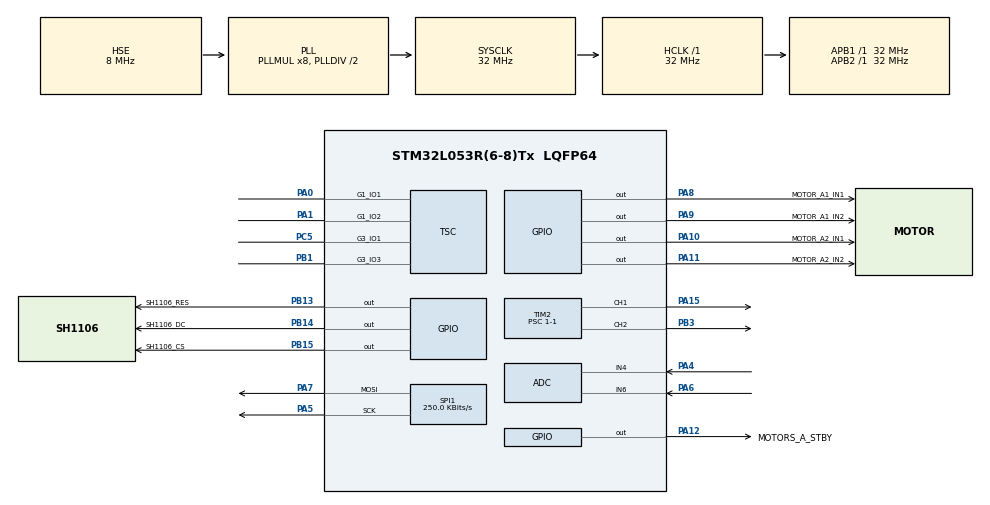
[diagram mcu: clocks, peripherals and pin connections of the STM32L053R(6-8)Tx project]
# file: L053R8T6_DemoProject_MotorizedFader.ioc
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ADC.ClockPrescaler=ADC_CLOCK_SYNC_PCLK_DIV4
ADC.ContinuousConvMode=DISABLE
ADC.EOCSelection=ADC_EOC_SINGLE_CONV
ADC.SamplingTime=ADC_SAMPLETIME_3CYCLES_5
Dma.ADC.0.Direction=DMA_PERIPH_TO_MEMORY
Dma.ADC.0.Instance=DMA1_Channel1
Dma.ADC.0.MemDataAlignment=DMA_MDATAALIGN_HALFWORD
Dma.ADC.0.MemInc=DMA_MINC_ENABLE
Dma.ADC.0.Mode=DMA_NORMAL
Dma.ADC.0.PeriphDataAlignment=DMA_PDATAALIGN_HALFWORD
Dma.ADC.0.PeriphInc=DMA_PINC_DISABLE
Dma.ADC.0.Priority=DMA_PRIORITY_MEDIUM
Dma.Request0=ADC
Dma.Request1=SPI1_TX
Dma.SPI1_TX.1.Direction=DMA_MEMORY_TO_PERIPH
Dma.SPI1_TX.1.Instance=DMA1_Channel3
Dma.SPI1_TX.1.MemDataAlignment=DMA_MDATAALIGN_BYTE
Dma.SPI1_TX.1.MemInc=DMA_MINC_ENABLE
Dma.SPI1_TX.1.Mode=DMA_NORMAL
Dma.SPI1_TX.1.PeriphDataAlignment=DMA_PDATAALIGN_BYTE
Dma.SPI1_TX.1.PeriphInc=DMA_PINC_DISABLE
Dma.SPI1_TX.1.Priority=DMA_PRIORITY_LOW
Mcu.Family=STM32L0
Mcu.Name=STM32L053R(6-8)Tx
Mcu.Package=LQFP64
NVIC.ADC1_COMP_IRQn=true\:1\:0\:true\:false\:true\:true\:true\:true
NVIC.DMA1_Channel1_IRQn=true\:0\:0\:false\:false\:true\:false\:true\:true
NVIC.DMA1_Channel2_3_IRQn=true\:0\:0\:false\:false\:true\:false\:true\:true
NVIC.SPI1_IRQn=true\:0\:0\:false\:false\:true\:true\:true\:true
NVIC.TSC_IRQn=true\:0\:0\:false\:false\:true\:true\:true\:true
PA0.Mode=G1_IO1-Sampling
PA0.Signal=TSC_G1_IO1
PA1.Mode=G1_IO2-Channel
PA1.Signal=TSC_G1_IO2
PA10.GPIO_Label=MOTOR_A2_IN1
PA10.Signal=GPIO_Output
PA11.GPIO_Label=MOTOR_A2_IN2
PA11.Signal=GPIO_Output
PA12.GPIO_Label=MOTORS_A_STBY
PA12.Signal=GPIO_Output
PA13.Mode=Serial_Wire
PA13.Signal=SYS_SWDIO
PA14.Mode=Serial_Wire
PA14.Signal=SYS_SWCLK
PA15.Signal=S_TIM2_CH1
PA4.Mode=IN4
PA4.Signal=ADC_IN4
PA5.Mode=TX_Only_Simplex_Unidirect_Master
PA5.Signal=SPI1_SCK
PA6.Mode=IN6
PA6.Signal=ADC_IN6
PA7.Mode=TX_Only_Simplex_Unidirect_Master
PA7.Signal=SPI1_MOSI
PA8.GPIO_Label=MOTOR_A1_IN1
PA8.Signal=GPIO_Output
PA9.GPIO_Label=MOTOR_A1_IN2
PA9.Signal=GPIO_Output
PB1.Mode=G3_IO3-Channel
PB1.Signal=TSC_G3_IO3
PB13.GPIO_Label=SH1106_RES
PB13.Signal=GPIO_Output
PB14.GPIO_Label=SH1106_DC
PB14.Signal=GPIO_Output
PB15.GPIO_Label=SH1106_CS
PB15.Signal=GPIO_Output
PB3.Signal=S_TIM2_CH2
PC5.Mode=G3_IO1-Sampling
PC5.Signal=TSC_G3_IO1
PH0-OSC_IN.Mode=HSE-External-Oscillator
PH0-OSC_IN.Signal=RCC_OSC_IN
PH1-OSC_OUT.Mode=HSE-External-Oscillator
PH1-OSC_OUT.Signal=RCC_OSC_OUT
ProjectManager.HeapSize=0x200
ProjectManager.StackSize=0x400
ProjectManager.TargetToolchain=STM32CubeIDE
RCC.AHBFreq_Value=32000000
RCC.APB1Freq_Value=32000000
RCC.APB1TimFreq_Value=32000000
RCC.APB2Freq_Value=32000000
RCC.APB2TimFreq_Value=32000000
RCC.HCLKFreq_Value=32000000
RCC.HSE_VALUE=8000000
RCC.HSI16_VALUE=16000000
RCC.HSI48_VALUE=48000000
RCC.HSI_VALUE=16000000
RCC.LSE_VALUE=32768
RCC.MSI_VALUE=2097000
RCC.PLLMUL=RCC_PLLMUL_8
RCC.PLLSourceVirtual=RCC_PLLSOURCE_HSE
RCC.SYSCLKFreq_VALUE=32000000
RCC.SYSCLKSource=RCC_SYSCLKSOURCE_PLLCLK
RCC.VCOOutputFreq_Value=64000000
SH.S_TIM2_CH1.0=TIM2_CH1,PWM Generation1 CH1
SH.S_TIM2_CH2.0=TIM2_CH2,PWM Generation2 CH2
SPI1.BaudRatePrescaler=SPI_BAUDRATEPRESCALER_128
SPI1.CLKPhase=SPI_PHASE_2EDGE
SPI1.CLKPolarity=SPI_POLARITY_HIGH
SPI1.CalculateBaudRate=250.0 KBits/s
SPI1.Direction=SPI_DIRECTION_2LINES
SPI1.Mode=SPI_MODE_MASTER
SPI1.VirtualType=VM_MASTER
TIM2.AutoReloadPreload=TIM_AUTORELOAD_PRELOAD_ENABLE
TIM2.Channel-PWM\ Generation1\ CH1=TIM_CHANNEL_1
TIM2.Channel-PWM\ Generation2\ CH2=TIM_CHANNEL_2
TIM2.Period=500-1
TIM2.Prescaler=1-1
TSC.CTPulseHighLength=TSC_CTPH_6CYCLES
TSC.CTPulseLowLength=TSC_CTPL_6CYCLES
TSC.ChannelIOs-G1_IO2=TSC_GROUP1_IO2
TSC.ChannelIOs-G1_IO2-Channel=TSC_GROUP1_IO2
TSC.ChannelIOs-G3_IO3=TSC_GROUP3_IO3
TSC.ChannelIOs-G3_IO3-Channel=TSC_GROUP3_IO3
TSC.SamplingIOs-G1_IO1=TSC_GROUP1_IO1
TSC.SamplingIOs-G1_IO1-Sampling=TSC_GROUP1_IO1
TSC.SamplingIOs-G3_IO1=TSC_GROUP3_IO1
TSC.SamplingIOs-G3_IO1-Sampling=TSC_GROUP3_IO1
VP_TIM2_VS_ClockSourceINT.Mode=Internal
board=custom

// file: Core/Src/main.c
/* USER CODE BEGIN Header */
/**
  ******************************************************************************
  * @file           : main.c
  * @brief          : Main program body
  ******************************************************************************
  * @attention
  *
  * Copyright (c) 2024 STMicroelectronics.
  * All rights reserved.
  *
  * This software is licensed under terms that can be found in the LICENSE file
  * in the root directory of this software component.
  * If no LICENSE file comes with this software, it is provided AS-IS.
  *
  ******************************************************************************
  */
/* USER CODE END Header */
#include "main.h"
#include "adc.h"
#include "dma.h"
#include "spi.h"
#include "tim.h"
#include "tsc.h"
#include "gpio.h"

/* USER CODE BEGIN Includes */
#include "motorizedFader.h"
#include <string.h>
/* USER CODE END Includes */

/* USER CODE BEGIN PV */

MotorizedFader_structTd Fader[2];
uint8_t NumFaders = 2;
uint16_t FaderValue[2];
uint16_t PrevFaderValue[2];
TSCButton_State_enumTd FaderState[2];

uint32_t timNow = 0;
uint32_t timOld = 0;
uint32_t WhileSpeed = 0;
/* USER CODE END PV */

void SystemClock_Config(void);

int main(void)
{

  /* MCU Configuration--------------------------------------------------------*/

  /* Reset of all peripherals, Initializes the Flash interface and the Systick. */
  HAL_Init();

  /* Configure the system clock */
  SystemClock_Config();

  /* Initialize all configured peripherals */
  MX_GPIO_Init();
  MX_DMA_Init();
  MX_TSC_Init();
  MX_ADC_Init();
  MX_TIM2_Init();
  MX_SPI1_Init();
  /* USER CODE BEGIN 2 */

  /* Fader Values */
  /* TSC */
  uint16_t TouchThreshold[2] = {450, 450};

  /* PID */
  double Kp = 0.15;   /* old: 0.32 */
  double Ki = 0.0001; /* old: 0.0038 */
  double Kd = 0.025;  /* old: 0.021 */
  double TauLowPass = 0.1;
  uint32_t PIDSampelTime = 3;

  /* PWM Limits */
  uint16_t CCRLimit = 500;
  int StartForceCCR = 120;
  int StopRangeCCR = 25;

  /* Initialize general fader settings */
  MotorizedFader_init_Structure(&Fader[0]);
  MotorizedFader_init_StartForce(&Fader[0], StartForceCCR);
  MotorizedFader_init_StopRange(&Fader[0], StopRangeCCR);

  MotorizedFader_init_Structure(&Fader[1]);
  MotorizedFader_init_StartForce(&Fader[1], StartForceCCR);
  MotorizedFader_init_StopRange(&Fader[1], StopRangeCCR);

  /* Initialize faders wiper */
  MotorizedFader_init_Wiper(&Fader[0], &hadc);
  MotorizedFader_init_Wiper(&Fader[1], &hadc);

  /* Initialize faders TSC */
  MotorizedFader_init_TouchTSC(&Fader[0], &htsc, TSC_GROUP1_IO2);
  MotorizedFader_init_TouchThreshold(&Fader[0], TouchThreshold[0]);

  MotorizedFader_init_TouchTSC(&Fader[1], &htsc, TSC_GROUP3_IO3);
  MotorizedFader_init_TouchThreshold(&Fader[1], TouchThreshold[1]);

  MotorizedFader_init_TouchDischargeTimeMsAll(2);

  /* Initialize faders Motor */
  MotorizedFader_init_MotorPinIn1(&Fader[0], GPIOA, GPIO_PIN_8);
  MotorizedFader_init_MotorPinIn2(&Fader[0], GPIOA, GPIO_PIN_9);
  MotorizedFader_init_MotorPinSTBY(&Fader[0], GPIOA, GPIO_PIN_12); /* Pin is shared with Fader[1] */
  MotorizedFader_init_MotorPWM(&Fader[0], &htim2, TIM_CHANNEL_1);

  MotorizedFader_init_MotorPinIn1(&Fader[1], GPIOA, GPIO_PIN_10);
  MotorizedFader_init_MotorPinIn2(&Fader[1], GPIOA, GPIO_PIN_11);
  MotorizedFader_init_MotorPinSTBY(&Fader[1], GPIOA, GPIO_PIN_12); /* Pin is shared with Fader[0] */
  MotorizedFader_init_MotorPWM(&Fader[1], &htim2, TIM_CHANNEL_2);

  /* Initialize faders PID */
  MotorizedFader_init_PID(&Fader[0]);
  MotorizedFader_init_PIDMaxCCR(&Fader[0], CCRLimit);
  MotorizedFader_init_PIDKpKiKd(&Fader[0], Kp, Ki, Kd);
  MotorizedFader_init_PIDLowPass(&Fader[0], TauLowPass);
  MotorizedFader_init_PIDSampleTimeInMs(&Fader[0], PIDSampelTime);

  MotorizedFader_init_PID(&Fader[1]);
  MotorizedFader_init_PIDMaxCCR(&Fader[1], CCRLimit);
  MotorizedFader_init_PIDKpKiKd(&Fader[1], Kp, Ki, Kd);
  MotorizedFader_init_PIDLowPass(&Fader[1], TauLowPass);
  MotorizedFader_init_PIDSampleTimeInMs(&Fader[1], PIDSampelTime);

  MotorizedFader_start_All();

  /* USER CODE END 2 */

  /* Infinite loop */
  /* USER CODE BEGIN WHILE */
  while (1)
  {
    /* check loop speed */
    timNow = HAL_GetTick();
    WhileSpeed = timNow - timOld;
    timOld = timNow;

    MotorizedFader_update_All();

    /* Link Faders */
    for(uint8_t Index = 0; Index < NumFaders;  Index++)
    {
      /* store previous fader value */
      PrevFaderValue[Index] = FaderValue[Index];

      /* Get current fader value */
      FaderValue[Index] = MotorizedFader_get_WiperValue(&Fader[Index]);
      FaderState[Index] = MotorizedFader_get_TSCState(&Fader[Index]);
    }

    if(FaderState[1] == TSCBUTTON_TOUCHED)
    {
      MotorizedFader_set_Target(&Fader[0], FaderValue[1]);
      MotorizedFader_set_Target(&Fader[1], FaderValue[1]);
    }

    if(FaderState[0] == TSCBUTTON_TOUCHED)
    {
      MotorizedFader_set_Target(&Fader[1], FaderValue[0]);
      MotorizedFader_set_Target(&Fader[0], FaderValue[0]);
    }
    /* Link Faders End */

    /* USER CODE END WHILE */

  }
}

void SystemClock_Config(void)
{
  RCC_OscInitTypeDef RCC_OscInitStruct = {0};
  RCC_ClkInitTypeDef RCC_ClkInitStruct = {0};

  /** Configure the main internal regulator output voltage
  */
  __HAL_PWR_VOLTAGESCALING_CONFIG(PWR_REGULATOR_VOLTAGE_SCALE1);

  /** Initializes the RCC Oscillators according to the specified parameters
  * in the RCC_OscInitTypeDef structure.
  */
  RCC_OscInitStruct.OscillatorType = RCC_OSCILLATORTYPE_HSE;
  RCC_OscInitStruct.HSEState = RCC_HSE_ON;
  RCC_OscInitStruct.PLL.PLLState = RCC_PLL_ON;
  RCC_OscInitStruct.PLL.PLLSource = RCC_PLLSOURCE_HSE;
  RCC_OscInitStruct.PLL.PLLMUL = RCC_PLLMUL_8;
  RCC_OscInitStruct.PLL.PLLDIV = RCC_PLLDIV_2;
  if (HAL_RCC_OscConfig(&RCC_OscInitStruct) != HAL_OK)
  {
    Error_Handler();
  }

  /** Initializes the CPU, AHB and APB buses clocks
  */
  RCC_ClkInitStruct.ClockType = RCC_CLOCKTYPE_HCLK|RCC_CLOCKTYPE_SYSCLK
                              |RCC_CLOCKTYPE_PCLK1|RCC_CLOCKTYPE_PCLK2;
  RCC_ClkInitStruct.SYSCLKSource = RCC_SYSCLKSOURCE_PLLCLK;
  RCC_ClkInitStruct.AHBCLKDivider = RCC_SYSCLK_DIV1;
  RCC_ClkInitStruct.APB1CLKDivider = RCC_HCLK_DIV1;
  RCC_ClkInitStruct.APB2CLKDivider = RCC_HCLK_DIV1;

  if (HAL_RCC_ClockConfig(&RCC_ClkInitStruct, FLASH_LATENCY_1) != HAL_OK)
  {
    Error_Handler();
  }
}

/* USER CODE BEGIN 4 */

/***************************************************************************//**
 * @name			Interrupt Handlers
 * @brief			Here are all Interrupt and callback funcitons.
 * @{
 ******************************************************************************/

/* details about this callback in: stm32l0xx_hal_adc.c */
void HAL_ADC_ConvCpltCallback(ADC_HandleTypeDef* hadc)
{
  MotorizedFader_manage_WiperInterrupt(hadc);
}

void HAL_TSC_ConvCpltCallback(TSC_HandleTypeDef* htsc)
{
  MotorizedFader_manage_TSCInterrupt();
}

/** @} ************************************************************************/
/* end of name "Interrupt Handlers"
 ******************************************************************************/
/* USER CODE END 4 */

void Error_Handler(void)
{
  __disable_irq();
  while (1)
  {
  }
}
